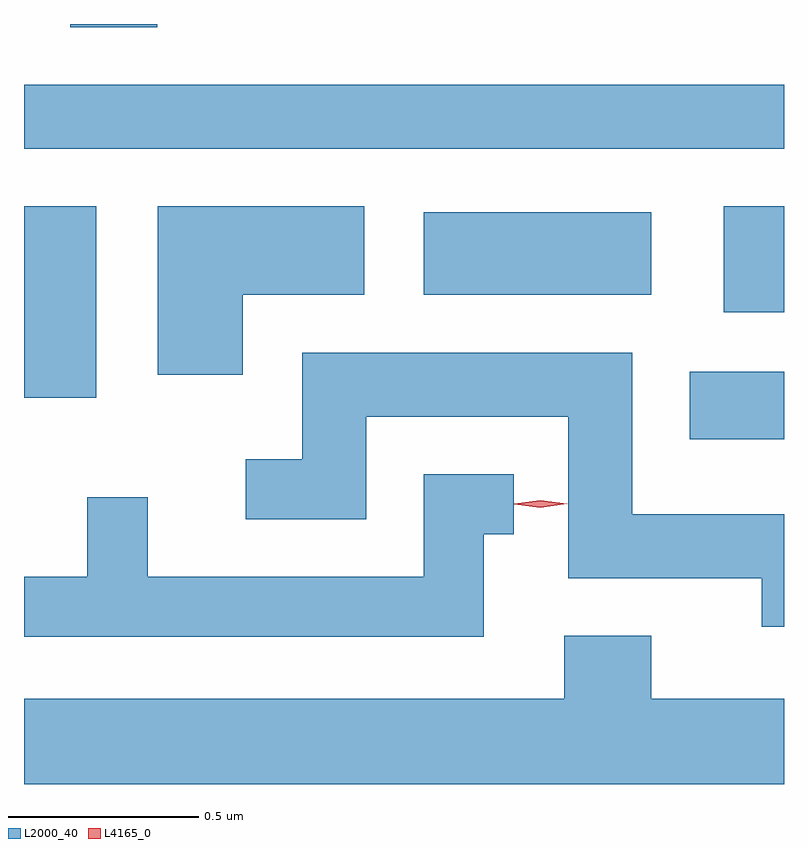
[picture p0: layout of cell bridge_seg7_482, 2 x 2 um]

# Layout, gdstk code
import gdstk
lib = gdstk.Library(unit=1e-6, precision=1e-09)
def R(c, l, rs):  # rectangles x0, y0, x1, y1
    for r in rs: c.add(gdstk.rectangle(r[:2], r[2:], *l))
def P(c, l, *ps):  # polygons
    for p in ps: c.add(gdstk.Polygon(p, *l))
L2000_40 = (2000, 40)
L4165_0 = (4165, 0)

bridge_seg7_482 = lib.new_cell('bridge_seg7_482')
R(bridge_seg7_482, L2000_40, [(1151.741,1701.946,1151.989,1702.124), (1149.989,1702.056,1150.179,1702.559), (1151.831,1702.281,1151.989,1702.559), (1151.041,1702.326,1151.639,1702.544), (1149.989,1702.711,1151.989,1702.879), (1150.111,1703.031,1150.339,1703.039)])
P(bridge_seg7_482, L2000_40, [(1150.564,1702.326),(1150.884,1702.326),(1150.884,1702.559),(1150.341,1702.559),(1150.341,1702.116),(1150.564,1702.116)],
  [(1151.989,1701.749),(1151.589,1701.749),(1151.589,1702.174),(1150.721,1702.174),(1150.721,1701.894),(1150.573,1701.894),(1150.573,1701.736),(1150.889,1701.736),(1150.889,1702.006),(1151.421,1702.006),(1151.421,1701.581),(1151.931,1701.581),(1151.931,1701.453),(1151.989,1701.453)],
  [(1151.199,1701.696),(1151.278,1701.696),(1151.278,1701.854),(1151.041,1701.854),(1151.041,1701.584),(1150.314,1701.584),(1150.314,1701.793),(1150.156,1701.793),(1150.156,1701.584),(1149.989,1701.584),(1149.989,1701.426),(1151.199,1701.426)],
  [(1151.989,1701.264),(1151.639,1701.264),(1151.639,1701.429),(1151.411,1701.429),(1151.411,1701.264),(1149.989,1701.264),(1149.989,1701.039),(1151.989,1701.039)])
P(bridge_seg7_482, L4165_0, [(1151.348,1701.766),(1151.279,1701.775),(1151.279,1701.776),(1151.279,1701.776),(1151.348,1701.786),(1151.418,1701.777),(1151.418,1701.777),(1151.418,1701.776)])

lib.write_gds('bridge_seg7_482.gds')
